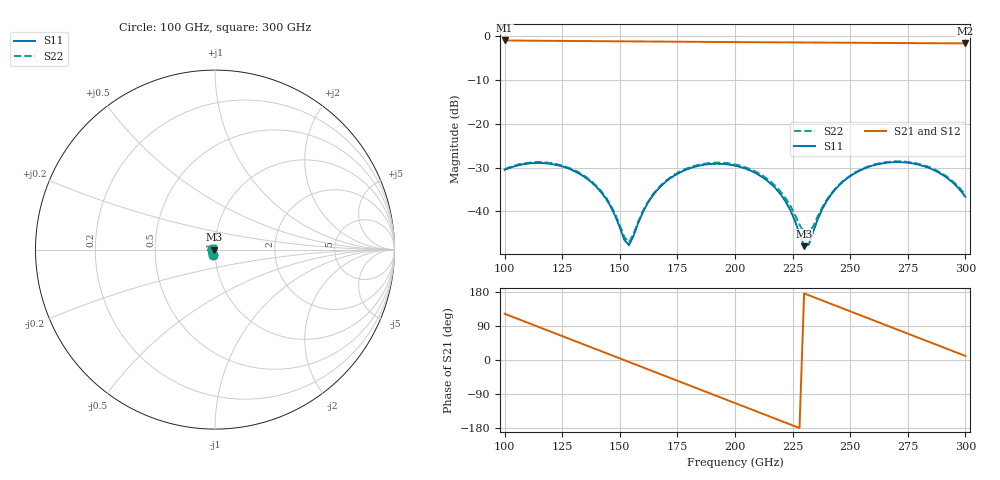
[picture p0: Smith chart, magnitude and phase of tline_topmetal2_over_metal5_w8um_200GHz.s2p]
#  GHZ S DB R 50
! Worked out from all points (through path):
!   101 points, 100 GHz to 300 GHz, reference 50 ohm
!   highest |S21| = -1.02 dB at 100 GHz (marker M1); lowest = -1.7 dB at 300 GHz (marker M2)
!   group delay of S21, straight-line fit = 6.55 ps
!   lowest |S11| = -47.9 dB at 230 GHz (marker M3), VSWR 1.01, Z = 49.6 + j0.0087 ohm
!   |S11| at or under -10 dB: start of sweep to end of sweep
!   |S22| runs from -47.0 to -28.6 dB; largest |S21 - S12| = 1.5e-14
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100  -30.52 -109.7  -1.02 122.0  -1.02 122.0  -30.36 -108.6
116  -28.95 -148.0  -1.09 84.3  -1.09 84.3  -28.77 -146.5
124  -29.58 -166.6  -1.12 65.5  -1.12 65.5  -29.38 -164.9
134  -31.88 171.5  -1.16 41.9  -1.16 41.9  -31.66 173.5
144  -37.09 155.2  -1.19 18.3  -1.19 18.3  -36.81 157.8
154  -47.64 -148.7  -1.23 -5.2  -1.23 -5.2  -46.99 -148.1
162  -38.18 -104.4  -1.25 -24.1  -1.25 -24.1  -37.98 -103.3
168  -34.14 -111.2  -1.28 -38.3  -1.28 -38.3  -33.94 -109.4
184  -29.61 -143.3  -1.33 -76.0  -1.33 -76.0  -29.38 -140.7
200  -29.55 -178.4  -1.39 -113.7  -1.39 -113.7  -29.27 -174.8
218  -34.96 146.3  -1.44 -156.0  -1.44 -156.0  -34.43 152.4
224  -39.68 141.8  -1.46 -170.2  -1.46 -170.2  -38.71 150.1
230  -47.90 178.8  -1.48 175.7  -1.48 175.7  -44.89 -178.5
232  -47.58 -145.1  -1.48 171.0  -1.48 171.0  -45.06 -153.2
234  -44.55 -123.4  -1.49 166.2  -1.49 166.2  -43.29 -133.2
240  -37.45 -113.5  -1.51 152.1  -1.51 152.1  -37.21 -117.4
246  -33.61 -121.2  -1.53 137.9  -1.53 137.9  -33.48 -122.5
258  -29.84 -144.7  -1.56 109.6  -1.56 109.6  -29.70 -144.0
268  -28.78 -166.2  -1.59 86.1  -1.59 86.1  -28.63 -164.5
276  -28.95 176.3  -1.62 67.2  -1.62 67.2  -28.78 178.7
286  -30.48 155.0  -1.65 43.7  -1.65 43.7  -30.27 158.3
300  -36.67 129.7  -1.68 10.7  -1.68 10.7  -36.25 135.8
